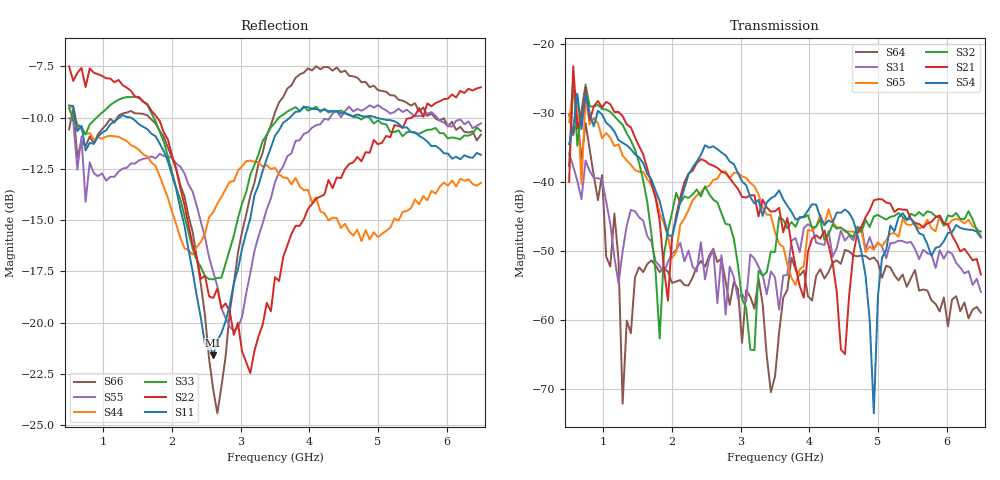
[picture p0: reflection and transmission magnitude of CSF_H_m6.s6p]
!Keysight Technologies,M9804A,MY58100912,A.14.10.03
!Date: Thursday, April 27, 2023 10:28:33
!Correction: S11(C  6-Port  )
!S12(C  6-Port  )
!S13(C  6-Port  )
!S14(C  6-Port  )
!S15(C  6-Port  )
!S16(C  6-Port  )
!S21(C  6-Port  )
!S22(C  6-Port  )
!S23(C  6-Port  )
!S24(C  6-Port  )
!S25(C  6-Port  )
!S26(C  6-Port  )
!S31(C  6-Port  )
!S32(C  6-Port  )
!S33(C  6-Port  )
!S34(C  6-Port  )
!S35(C  6-Port  )
!S36(C  6-Port  )
!S41(C  6-Port  )
!S42(C  6-Port  )
!S43(C  6-Port  )
!S44(C  6-Port  )
!S45(C  6-Port  )
!S46(C  6-Port  )
!S51(C  6-Port  )
!S52(C  6-Port  )
!S53(C  6-Port  )
!S54(C  6-Port  )
!S55(C  6-Port  )
!S56(C  6-Port  )
!S61(C  6-Port  )
!S62(C  6-Port  )
!S63(C  6-Port  )
!S64(C  6-Port  )
!S65(C  6-Port  )
!S66(C  6-Port  )
!S6P File: Measurement: :
# Hz S  RI  R 50
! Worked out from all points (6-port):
!   101 points, 500 MHz to 6.5 GHz, reference 50 ohm
!   strongest paths, dB at 500 MHz, 2 GHz, 3.5 GHz, 5 GHz, 6.5 GHz:
!     S54: -34.5, -48.0, -42.1, -56.5, -48.1
!     S21: -40.0, -48.1, -44.3, -42.5, -53.5
!     S32: -37.7, -44.5, -50.2, -44.8, -47.2
!     S65: -31.3, -51.1, -47.3, -48.8, -47.9
!     S31: -35.9, -50.4, -53.9, -48.8, -56.0
!     S64: -30.2, -54.7, -68.2, -51.7, -59.0
!   lowest |S11| = -21.6 dB at 2.6 GHz (marker M1), VSWR 1.18, Z = 42.6 + j2.06 ohm
!   |S11| at or under -10 dB: 587.7 MHz to 1.233 GHz (645.7 MHz wide, 70.9 % of centre); 1.402 GHz to 3.716 GHz (2.313 GHz wide, 90.4 % of centre); 4.974 GHz to end of sweep
